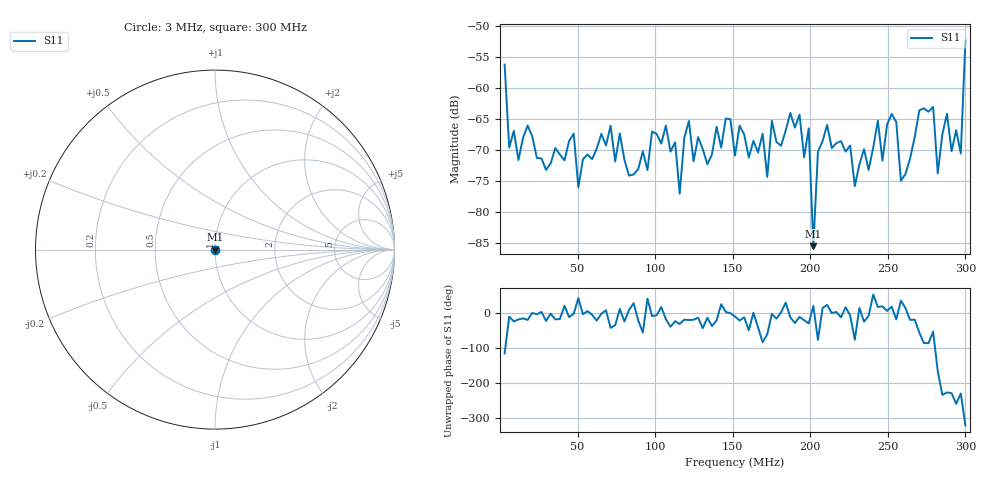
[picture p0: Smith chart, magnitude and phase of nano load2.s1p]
! File created by NanoVNA (https://gen111.taobao.com/)
! Start 3000000Hz  Stop 300000000Hz  Points 101
# HZ S MA R 50
!S - Parameter data, F S11
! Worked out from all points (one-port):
!   101 points, 3 MHz to 300 MHz, reference 50 ohm
!   lowest |S11| = -85.6 dB at 202 MHz (marker M1), VSWR 1.00, Z = 50 + j0.00191 ohm
!   |S11| at or under -10 dB: start of sweep to end of sweep
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3000000  0.00155 -115.6
5970000  0.0003302 -9.6
4.161e7  0.00026 21.7
7.725e7  0.0004299 12.4
8.319e7  0.0001957 9.5
1.0695e8  0.0004975 -17.1
1.1586e8  0.0001399 -30.8
1.218e8  0.000542 -19.3
1.2477e8  0.0002556 -18.6
1.4556e8  0.0005674 3.8
1.515e8  0.0002838 -9.3
1.6932e8  0.0004273 -83.3
1.7229e8  0.0001908 -60.3
1.7526e8  0.0005436 -2.1
1.9011e8  0.0004785 -27.8
1.9902e8  0.0004719 -29.1
2.0199e8  5.255e-05 21.3
2.109e8  0.0005035 24.0
2.2575e8  0.0003428 -6.4
2.2872e8  0.0001609 -75.8
2.5248e8  0.0006177 19.1
2.5842e8  0.0001782 36.2
2.6436e8  0.0002696 -18.9
2.7921e8  0.000705 -52.9
2.8218e8  0.0002041 -166.0
2.8812e8  0.0006198 132.6
2.9703e8  0.0002954 129.6
3e8  0.00243 37.8
